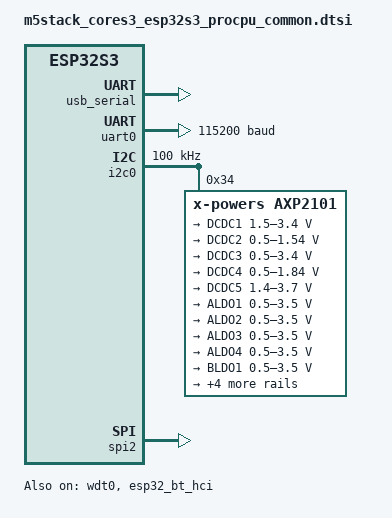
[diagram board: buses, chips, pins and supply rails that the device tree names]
/*
 * Copyright (c) 2024 Zhang Xingtao <zhxt@live.cn>
 *
 * SPDX-License-Identifier: Apache-2.0
 */

#include <espressif/esp32s3/esp32s3_wroom_n16r8.dtsi>
#include <espressif/partitions_0x0_amp.dtsi>
#include "m5stack_cores3-pinctrl.dtsi"

/ {
	chosen {
		zephyr,sram = &sram0;
		zephyr,console = &usb_serial;
		zephyr,shell-uart = &usb_serial;
		zephyr,flash = &flash0;
		zephyr,code-partition = &slot0_partition;
		zephyr,bt-hci = &esp32_bt_hci;
	};

	aliases {
		i2c-0 = &i2c0;
		watchdog0 = &wdt0;
		led0 = &axp2101_led;
	};
};

&usb_serial {
	status = "okay";
};

&uart0 {
	status = "okay";
	current-speed = <115200>;
	pinctrl-0 = <&uart0_default>;
	pinctrl-names = "default";
};

&i2c0 {
	status = "okay";
	clock-frequency = <I2C_BITRATE_STANDARD>;
	pinctrl-0 = <&i2c0_default>;
	pinctrl-names = "default";

	axp2101@34 {
		compatible = "x-powers,axp2101";
		reg = <0x34>;
		status = "okay";

		axp2101_regulator: axp2101_regulator {
			compatible = "x-powers,axp2101-regulator";
			status = "okay";

			DCDC1: DCDC1 {
				regulator-min-microvolt = <1500000>;
				regulator-max-microvolt = <3400000>;
				status = "okay";
			};

			DCDC2: DCDC2 {
				regulator-min-microvolt = <500000>;
				regulator-max-microvolt = <1540000>;
				status = "okay";
			};

			DCDC3: DCDC3 {
				regulator-min-microvolt = <500000>;
				regulator-max-microvolt = <3400000>;
				status = "okay";
			};

			DCDC4: DCDC4 {
				regulator-min-microvolt = <500000>;
				regulator-max-microvolt = <1840000>;
				status = "okay";
			};

			DCDC5: DCDC5 {
				regulator-min-microvolt = <1400000>;
				regulator-max-microvolt = <3700000>;
				status = "okay";
			};

			ALDO1: ALDO1 {
				regulator-min-microvolt = <500000>;
				regulator-max-microvolt = <3500000>;
				status = "okay";
			};

			ALDO2: ALDO2 {
				regulator-min-microvolt = <500000>;
				regulator-max-microvolt = <3500000>;
				status = "okay";
			};

			ALDO3: ALDO3 {
				regulator-min-microvolt = <500000>;
				regulator-max-microvolt = <3500000>;
				status = "okay";
			};
			ALDO4: ALDO4 {
				regulator-min-microvolt = <500000>;
				regulator-max-microvolt = <3500000>;
				status = "okay";
			};
			BLDO1: BLDO1 {
				regulator-min-microvolt = <500000>;
				regulator-max-microvolt = <3500000>;
				status = "okay";
			};
			BLDO2: BLDO2 {
				regulator-min-microvolt = <500000>;
				regulator-max-microvolt = <3500000>;
				status = "okay";
			};

			CLDO1: CLDO1 {
				regulator-min-microvolt = <500000>;
				regulator-max-microvolt = <1400000>;
				status = "okay";
			};

			DLDO1: DLDO1 {
				regulator-min-microvolt = <500000>;
				regulator-max-microvolt = <3400000>;
				status = "okay";
			};

			DLDO2: DLDO2 {
				regulator-min-microvolt = <500000>;
				regulator-max-microvolt = <3400000>;
				status = "okay";
			};
		};

		axp2101_led: axp2101_led {
			compatible = "x-powers,axp2101-led";
			status = "okay";
			x-powers,mode = "by-reg";
		};
	};
};

&spi2 {
	#address-cells = <1>;
	#size-cells = <0>;
	status = "okay";
	pinctrl-0 = <&spim2_default>;
	pinctrl-names = "default";
};

&wdt0 {
	status = "okay";
};

&esp32_bt_hci {
	status = "okay";
};
